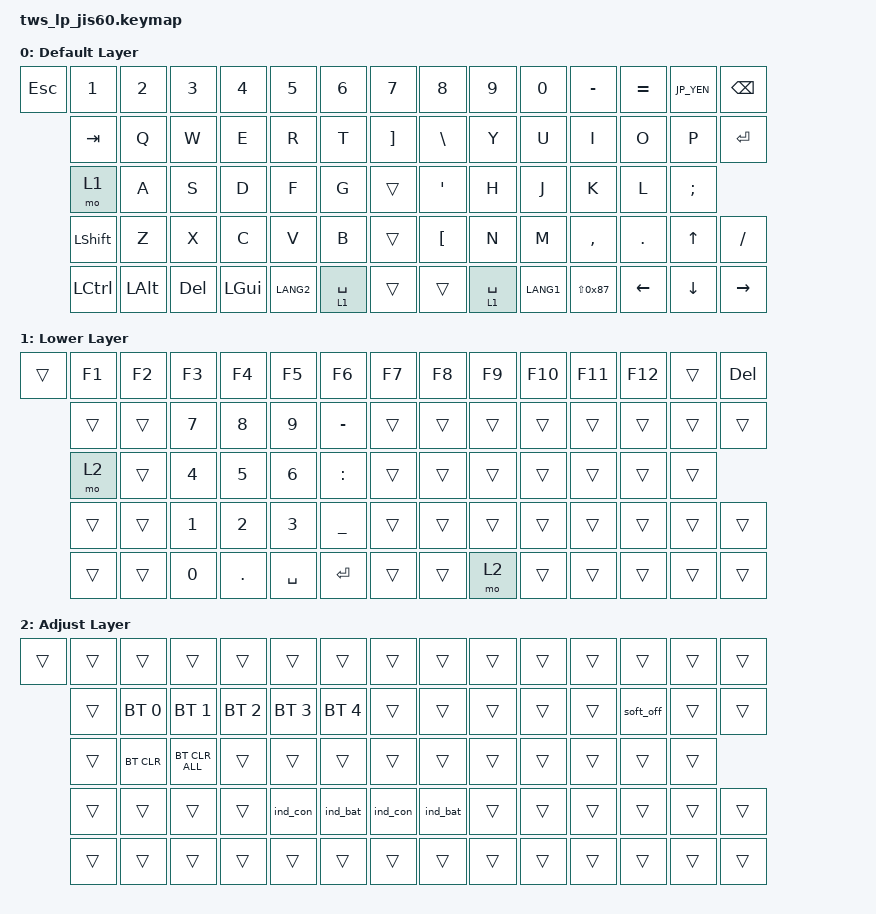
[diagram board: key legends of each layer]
#include <behaviors.dtsi>
#include <dt-bindings/zmk/keys.h>
#include <dt-bindings/zmk/bt.h>
#include <behaviors/rgbled_widget.dtsi>

// JIS keyboard layout conversion definitions
// Reference: https://note.com/kloir_z/n/n314e739f03a1
#define JP_CARET EQUAL              // ^
#define JP_AT LEFT_BRACKET          // @
#define JP_COLON SINGLE_QUOTE       // :
#define JP_LBRACKET RIGHT_BRACKET   // [
#define JP_RBRACKET BACKSLASH       // ]
#define JP_YEN      0x89            // ¥
#define JP_UNDSCR   LS(0x87)        // _
#define JP_PLUS     COLON           // +
#define JP_EQUAL    UNDER           // =

/ {
    keymap {
        compatible = "zmk,keymap";

        default_layer {
            display-name = "Default Layer";
// -----------------------------------------------------------------------------------------
// | ESC |   1   |  2  |  3  |  4  |  5  |  6  |     |  7  |  8  |  9  |  0  |  -  |  ^  |  \  |  BSPC |
//       |  TAB  |  Q  |  W  |  E  |  R  |  T  |     |  [  |  ]  |  Y  |  U  |  I  |  O  |  P  |  BSPC |
//       |  FN   |  A  |  S  |  D  |  F  |  G  |     |  ;  |  :  |  H  |  J  |  K  |  L  |ENTER|
//       | SHIFT |  Z  |  X  |  C  |  V  |  B  |     |  @  |  /  |  N  |  M  |  ,  |  .  |  ↑  | SHIFT |
//       | CTRL  | ALT | GUI | DEL |EISU | SPC |     |KANA |     | SPC |  _  | Fn  |  ←  |  ↓  |   →   |
            bindings = <
&kp ESC &kp N1    &kp N2    &kp N3   &kp N4   &kp N5    &kp N6              &kp N7          &kp N8          &kp N9      &kp N0      &kp MINUS &kp JP_CARET    &kp JP_YEN  &kp BSPC
        &kp TAB   &kp Q     &kp W    &kp E    &kp R     &kp T               &kp JP_LBRACKET &kp JP_RBRACKET &kp Y       &kp U       &kp I     &kp O           &kp P       &kp ENTER
        &mo 1     &kp A     &kp S    &kp D    &kp F     &kp G               &trans          &kp JP_COLON    &kp H       &kp J       &kp K     &kp L           &kp SEMI
        &kp LSHFT &kp Z     &kp X    &kp C    &kp V     &kp B               &trans          &kp JP_AT       &kp N       &kp M       &kp COMMA &kp DOT         &kp UP      &kp FSLH
        &kp LCTRL &kp LALT  &kp DEL  &kp LGUI &kp LANG2 &lt 1 SPACE         &trans          &trans          &lt 1 SPACE &kp LANG1   &kp JP_UNDSCR &kp LEFT  &kp DOWN        &kp RIGHT
            >;
        };

        lower_layer {
            display-name = "Lower Layer";
// -----------------------------------------------------------------------------------------
// |     |   F1  |  F2 |  F3 |  F4 |  F5 |  F6 |       |  F7 |  F8 |  F9 | F10 | F11 | F12 |     | DEL |
//       |       |     |     |     |     |     |       |     |     |     |     |     |     |     |     |
//       |       |     |     |     |     |     |       |     |     |     |     |     |     |     |
//       |       |     |     |     |     |     |       |     |     |     |     |     |     |     |
//       |   Fn  |     |     |     |     |     |       |     |     |     |     | Fn  |     |     |
            bindings = <
&trans  &kp F1 &kp F2 &kp F3    &kp F4      &kp F5      &kp F6          &kp F7 &kp F8 &kp F9 &kp F10 &kp F11 &kp F12 &trans &kp DEL
        &trans &trans &kp N7    &kp N8      &kp N9      &kp MINUS       &trans &trans &trans &trans  &trans  &trans  &trans &trans
        &mo 2  &trans &kp N4    &kp N5      &kp N6      &kp JP_PLUS     &trans &trans &trans &trans  &trans  &trans  &trans
        &trans &trans &kp N1    &kp N2      &kp N3      &kp JP_EQUAL    &trans &trans &trans &trans  &trans  &trans  &trans &trans
        &trans &trans &kp N0    &kp DOT     &kp SPACE   &kp ENTER       &trans &trans &mo 2 &trans  &trans   &trans  &trans &trans
            >;
        };

        adjust_layer {
            display-name = "Adjust Layer";
// -----------------------------------------------------------------------------------------
// |     |     |     |     |     |     |     |       |     |     |     |     |     |     |     |     |
//       |     | BT1 | BT2 | BT3 | BT4 | BT5 |       |     |     |     |     |     |     |     |     |
//       |     | CLR |CLRAL|     |     |     |       |     |     |     |     |     |     |     |
//       |     |     |     |     | CON | BAT |       | CON | BAT |     |     |     |     |     |
//       |     |     |     |     |     |     |       |     |     |     |     |     |     |     |
            bindings = <
&trans  &trans &trans       &trans         &trans       &trans       &trans    &trans   &trans &trans &trans  &trans  &trans  &trans &trans
        &trans &bt BT_SEL 0 &bt BT_SEL 1   &bt BT_SEL 2 &bt BT_SEL 3 &bt BT_SEL 4 &trans &trans &trans &trans  &trans  &soft_off  &trans &trans
        &trans &bt BT_CLR   &bt BT_CLR_ALL &trans       &trans       &trans    &trans   &trans &trans &trans  &trans  &trans  &trans
        &trans &trans       &trans         &trans       &ind_con     &ind_bat  &ind_con &ind_bat &trans &trans &trans &trans  &trans &trans
        &trans &trans       &trans         &trans       &trans       &trans    &trans   &trans &trans &trans  &trans  &trans  &trans &trans
            >;
        };
    };
};
